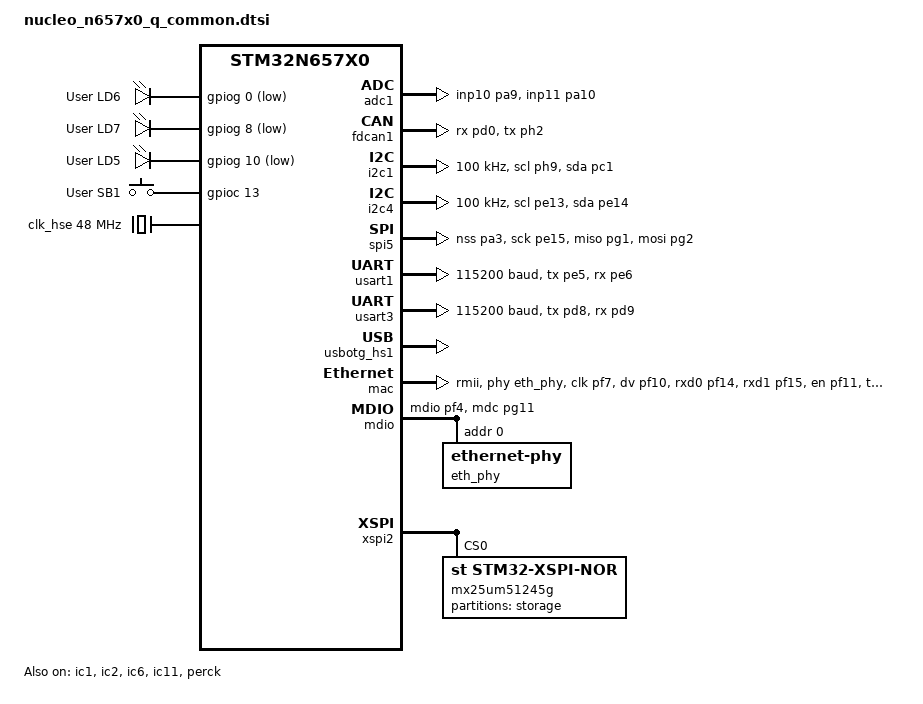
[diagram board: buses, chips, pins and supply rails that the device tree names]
/*
 * Copyright (c) 2025 STMicroelectronics
 *
 * SPDX-License-Identifier: Apache-2.0
 */

#include <st/n6/stm32n657X0.dtsi>
#include <st/n6/stm32n657x0hxq-pinctrl.dtsi>
#include <zephyr/dt-bindings/flash_controller/xspi.h>
#include <zephyr/dt-bindings/input/input-event-codes.h>
#include "arduino_r3_connector.dtsi"

/ {
	chosen {
		zephyr,console = &usart1;
		zephyr,shell-uart = &usart1;
		zephyr,sram = &axisram2;
		zephyr,canbus = &fdcan1;
		spi-flash0 = &mx25um51245g;
	};

	leds: leds {
		compatible = "gpio-leds";

		green_led: led_1 {
			gpios = <&gpiog 0 GPIO_ACTIVE_LOW>;
			label = "User LD6";
		};

		blue_led: led_2 {
			gpios = <&gpiog 8 GPIO_ACTIVE_LOW>;
			label = "User LD7";
		};

		red_led: led_3 {
			gpios = <&gpiog 10 GPIO_ACTIVE_LOW>;
			label = "User LD5";
		};
	};

	gpio_keys {
		compatible = "gpio-keys";

		user_button: button_0 {
			gpios = <&gpioc 13 (GPIO_ACTIVE_HIGH | GPIO_PULL_DOWN)>;
			label = "User SB1";
			zephyr,code = <INPUT_KEY_0>;
		};
	};

	aliases {
		led0 = &green_led;
		led1 = &blue_led;
		led2 = &red_led;
		sw0 = &user_button;
	};
};

&clk_hse {
	hse-div2;
	clock-frequency = <DT_FREQ_M(48)>;
	status = "okay";
};

&clk_hsi {
	hsi-div = <1>;
	status = "okay";
};

&pll1 {
	clocks = <&clk_hse>;
	div-m = <3>;
	mul-n = <150>;
	div-p1 = <1>;
	div-p2 = <1>;
	status = "okay";
};

&pll3 {
	clocks = <&clk_hse>;
	div-m = <3>;
	mul-n = <125>;
	div-p1 = <1>;
	div-p2 = <1>;
	status = "okay";
};

&ic1 {
	pll-src = <1>;
	ic-div = <3>;
	status = "okay";
};

&ic2 {
	pll-src = <1>;
	ic-div = <6>;
	status = "okay";
};

&ic6 {
	pll-src = <3>;
	ic-div = <2>;
	status = "okay";
};

&ic11 {
	pll-src = <1>;
	ic-div = <3>;
	status = "okay";
};

&perck {
	clocks = <&rcc STM32_SRC_HSI PER_SEL(0)>;
	status = "okay";
};

&cpusw {
	clocks = <&rcc STM32_SRC_IC1 CPU_SEL(3)>;
	clock-frequency = <DT_FREQ_M(800)>;
	status = "okay";
};

&rcc {
	/* ic2, ic6 & ic11 must all be enabled to set ic2 as SYSCLK */
	clocks = <&ic2>;
	clock-frequency = <DT_FREQ_M(400)>;
	ahb-prescaler = <2>;
	timg-prescaler = <2>;
};

&adc1 {
	clocks = <&rcc STM32_CLOCK(AHB1, 5)>,
		 <&rcc STM32_SRC_CKPER ADC12_SEL(1)>;
	pinctrl-0 = <&adc1_inp10_pa9 &adc1_inp11_pa10>; /* Arduino A1 & A2 */
	pinctrl-names = "default";
	vref-mv = <1800>;
	status = "okay";
};

&fdcan1 {
	clocks = <&rcc STM32_CLOCK(APB1_2, 8)>,
		 <&rcc STM32_SRC_CKPER FDCAN_SEL(1)>;
	pinctrl-0 = <&fdcan1_rx_pd0 &fdcan1_tx_ph2>;
	pinctrl-names = "default";
	status = "okay";
};

&i2c1 {
	clocks = <&rcc STM32_CLOCK(APB1, 21)>,
		 <&rcc STM32_SRC_CKPER I2C1_SEL(1)>;
	pinctrl-0 = <&i2c1_scl_ph9 &i2c1_sda_pc1>;
	pinctrl-names = "default";
	clock-frequency = <I2C_BITRATE_STANDARD>;
	status = "okay";
};

&i2c4 {
	clocks = <&rcc STM32_CLOCK(APB4, 7)>,
		 <&rcc STM32_SRC_CKPER I2C4_SEL(1)>;
	pinctrl-0 = <&i2c4_scl_pe13 &i2c4_sda_pe14>;
	pinctrl-names = "default";
	clock-frequency = <I2C_BITRATE_STANDARD>;
	status = "okay";
};

&spi5 {
	clocks = <&rcc STM32_CLOCK(APB2, 20)>,
		 <&rcc STM32_SRC_CKPER SPI5_SEL(1)>;
	pinctrl-0 = <&spi5_nss_pa3 &spi5_sck_pe15 &spi5_miso_pg1 &spi5_mosi_pg2>;
	pinctrl-names = "default";
	status = "okay";
};

&usart1 {
	clocks = <&rcc STM32_CLOCK(APB2, 4)>,
		 <&rcc STM32_SRC_CKPER USART1_SEL(1)>;
	pinctrl-0 = <&usart1_tx_pe5 &usart1_rx_pe6>;
	pinctrl-names = "default";
	current-speed = <115200>;
	status = "okay";
};

&usart3 {
	clocks = <&rcc STM32_CLOCK(APB1, 18)>,
		 <&rcc STM32_SRC_CKPER USART3_SEL(1)>;
	pinctrl-0 = <&usart3_tx_pd8 &usart3_rx_pd9>;
	pinctrl-names = "default";
	current-speed = <115200>;
	status = "okay";
};

zephyr_udc0: &usbotg_hs1 {
	status = "okay";
};

&mac {
	status = "okay";
	pinctrl-0 = <&eth1_rmii_ref_clk_pf7
		     &eth1_rmii_crs_dv_pf10
		     &eth1_rmii_rxd0_pf14
		     &eth1_rmii_rxd1_pf15
		     &eth1_rmii_tx_en_pf11
		     &eth1_rmii_txd0_pf12
		     &eth1_rmii_txd1_pf13>;
	pinctrl-names = "default";
	phy-connection-type = "rmii";
	phy-handle = <&eth_phy>;
};

&mdio {
	status = "okay";
	pinctrl-0 = <&eth1_mdio_pf4 &eth1_mdc_pg11>;
	pinctrl-names = "default";

	eth_phy: ethernet-phy@0 {
		compatible = "ethernet-phy";
		reg = <0x0>;
	};
};

&xspi2 {
	pinctrl-0 = <&xspim_p2_ncs1_pn1 &xspim_p2_dqs0_pn0 &xspim_p2_clk_pn6
		     &xspim_p2_io0_pn2 &xspim_p2_io1_pn3 &xspim_p2_io2_pn4
		     &xspim_p2_io3_pn5 &xspim_p2_io4_pn8 &xspim_p2_io5_pn9
		     &xspim_p2_io6_pn10 &xspim_p2_io7_pn11>;
	pinctrl-names = "default";
	clocks = <&rcc STM32_CLOCK(AHB5, 12)>,
		 <&rcc STM32_SRC_HCLK5 XSPI2_SEL(0)>,
		 <&rcc STM32_CLOCK(AHB5, 13)>;
	status = "okay";

	mx25um51245g: ospi-nor-flash@0 {
		compatible = "st,stm32-xspi-nor";
		reg = <0>;
		size = <DT_SIZE_M(512)>; /* 512 Mbits */
		ospi-max-frequency = <DT_FREQ_M(200)>;
		spi-bus-width = <XSPI_OCTO_MODE>;
		data-rate = <XSPI_DTR_TRANSFER>;
		four-byte-opcodes;
		status = "okay";

		partitions {
			compatible = "fixed-partitions";
			#address-cells = <1>;
			#size-cells = <1>;

			storage_partition: partition@3ff0000 {
				label = "storage";
				reg = <0x3ff0000 DT_SIZE_K(64)>;
			};
		};
	};
};
